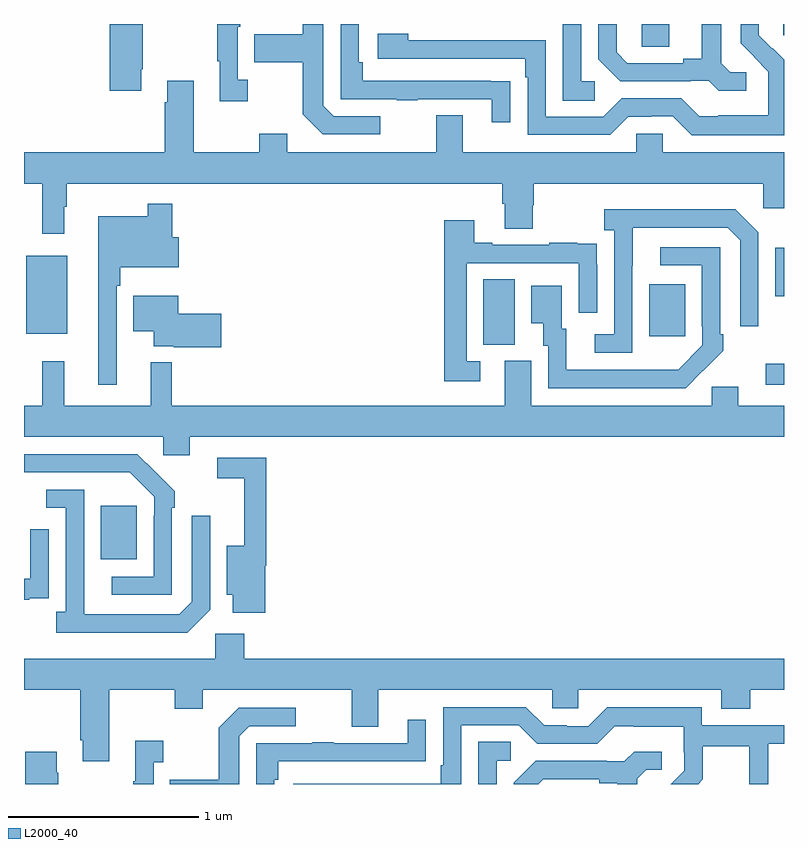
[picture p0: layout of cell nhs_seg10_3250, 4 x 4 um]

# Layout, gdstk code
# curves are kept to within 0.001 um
import gdstk
lib = gdstk.Library(unit=1e-6, precision=1e-09)
def R(c, l, rs):  # rectangles x0, y0, x1, y1
    for r in rs: c.add(gdstk.rectangle(r[:2], r[2:], *l))
def P(c, l, *ps):  # polygons
    for p in ps: c.add(gdstk.Polygon(p, *l))
L2000_40 = (2000, 40)

nhs_seg10_3250 = lib.new_cell('nhs_seg10_3250')
R(nhs_seg10_3250, L2000_40, [(287.405,1287.683,287.593,1287.964), (290.904,1288.602,291,1288.711), (289.418,1288.813,289.582,1289.156), (290.291,1288.857,290.479,1289.131), (287.012,1288.871,287.227,1289.281), (290.954,1289.066,291,1289.323), (290.25,1290.379,290.395,1290.5), (290.996,1290.441,291,1290.5)])
P(nhs_seg10_3250, L2000_40, [(290.8,1290.246),(290.718,1290.246),(290.671,1290.293),(290.671,1290.5),(290.567,1290.5),(290.567,1290.317),(290.471,1290.317),(290.471,1290.294),(290.176,1290.294),(290.119,1290.351),(290.119,1290.5),(290.022,1290.5),(290.022,1290.314),(290.138,1290.198),(290.51,1290.198),(290.51,1290.201),(290.604,1290.201),(290.656,1290.149),(290.8,1290.149)],
  [(287.617,1290.262),(287.625,1290.262),(287.625,1290.5),(287.45,1290.5),(287.45,1290.15),(287.617,1290.15)],
  [(288.874,1290.015),(288.63,1290.015),(288.576,1290.069),(288.576,1290.5),(288.468,1290.5),(288.468,1290.445),(288.211,1290.445),(288.211,1290.298),(288.468,1290.298),(288.468,1290.025),(288.573,1289.919),(288.874,1289.919)],
  [(290.005,1290.198),(289.932,1290.198),(289.932,1290.5),(289.836,1290.5),(289.836,1290.097),(290.005,1290.097)],
  [(289.559,1290.2),(289.457,1290.2),(289.457,1290.201),(288.782,1290.201),(288.782,1290.298),(288.762,1290.298),(288.762,1290.5),(288.666,1290.5),(288.666,1290.105),(288.961,1290.105),(288.961,1290.1),(289.073,1290.1),(289.073,1290.105),(289.463,1290.105),(289.463,1289.982),(289.559,1289.982)],
  [(288.178,1290.206),(288.126,1290.206),(288.126,1290.485),(288.139,1290.485),(288.139,1290.5),(288.018,1290.5),(288.018,1290.305),(288.029,1290.305),(288.029,1290.093),(288.178,1290.093)],
  [(291,1290.312),(290.94,1290.372),(290.937,1290.369),(290.867,1290.44),(290.867,1290.5),(290.772,1290.5),(290.772,1290.398),(290.918,1290.25),(290.918,1290.153),(290.916,1290.153),(290.916,1290.019),(290.653,1290.019),(290.653,1290.015),(290.553,1290.015),(290.46,1290.108),(290.145,1290.108),(290.049,1290.012),(289.746,1290.012),(289.746,1290.414),(289.022,1290.414),(289.022,1290.448),(288.861,1290.448),(288.861,1290.318),(289.637,1290.318),(289.637,1290.221),(289.65,1290.221),(289.65,1289.916),(290.085,1289.916),(290.181,1290.012),(290.3,1290.012),(290.3,1290.015),(290.415,1290.015),(290.515,1289.915),(291,1289.915)],
  [(287.212,1289.537),(287.224,1289.537),(287.224,1289.66),(289.517,1289.66),(289.517,1289.554),(289.529,1289.554),(289.529,1289.422),(289.677,1289.422),(289.677,1289.547),(289.682,1289.547),(289.682,1289.66),(290.892,1289.66),(290.892,1289.529),(291,1289.529),(291,1289.824),(290.361,1289.824),(290.361,1289.922),(290.223,1289.922),(290.223,1289.824),(289.309,1289.824),(289.309,1290.019),(289.169,1290.019),(289.169,1289.824),(288.385,1289.824),(288.385,1289.923),(288.238,1289.923),(288.238,1289.824),(287.893,1289.824),(287.893,1290.202),(287.753,1290.202),(287.753,1290.089),(287.741,1290.089),(287.741,1289.824),(287,1289.824),(287,1289.66),(287.095,1289.66),(287.095,1289.397),(287.212,1289.397)],
  [(287.487,1289.123),(287.507,1289.123),(287.507,1289.219),(287.815,1289.219),(287.815,1289.377),(287.78,1289.377),(287.78,1289.554),(287.652,1289.554),(287.652,1289.488),(287.39,1289.488),(287.39,1288.602),(287.487,1288.602)],
  [(290.202,1289.227),(290.203,1289.427),(290.703,1289.427),(290.769,1289.361),(290.769,1288.908),(290.865,1288.908),(290.865,1289.403),(290.744,1289.524),(290.055,1289.524),(290.055,1289.414),(290.106,1289.414),(290.106,1288.866),(290.004,1288.866),(290.004,1288.77),(290.202,1288.77)],
  [(289.402,1288.725),(289.329,1288.725),(289.329,1289.241),(289.92,1289.241),(289.92,1288.98),(290.016,1288.98),(290.016,1289.234),(290.015,1289.234),(290.015,1289.343),(289.913,1289.343),(289.913,1289.35),(289.765,1289.35),(289.765,1289.337),(289.465,1289.337),(289.465,1289.35),(289.369,1289.35),(289.369,1289.467),(289.213,1289.467),(289.213,1288.62),(289.402,1288.62)],
  [(290.573,1288.675),(290.574,1288.674),(290.679,1288.779),(290.679,1288.867),(290.664,1288.867),(290.664,1289.325),(290.349,1289.325),(290.349,1289.229),(290.568,1289.229),(290.568,1288.909),(290.571,1288.909),(290.571,1288.809),(290.443,1288.681),(289.855,1288.68),(289.855,1288.896),(289.831,1288.896),(289.831,1289.122),(289.67,1289.122),(289.67,1288.925),(289.733,1288.925),(289.733,1288.806),(289.758,1288.806),(289.758,1288.584),(290.482,1288.584)],
  [(288.037,1288.976),(287.812,1288.976),(287.812,1289.071),(287.576,1289.071),(287.576,1288.883),(287.684,1288.883),(287.684,1288.805),(287.788,1288.805),(287.788,1288.8),(288.037,1288.8)],
  [(287.095,1288.726),(287.095,1288.492),(287,1288.492),(287,1288.328),(287.733,1288.328),(287.733,1288.23),(287.872,1288.23),(287.872,1288.328),(291,1288.328),(291,1288.492),(290.758,1288.492),(290.758,1288.59),(290.619,1288.59),(290.619,1288.492),(289.669,1288.492),(289.669,1288.728),(289.529,1288.728),(289.529,1288.492),(287.778,1288.492),(287.778,1288.72),(287.666,1288.72),(287.666,1288.492),(287.213,1288.492),(287.213,1288.726)],
  [(287.778,1287.953),(287.793,1287.953),(287.793,1288.041),(287.596,1288.236),(287,1288.236),(287,1288.14),(287.557,1288.14),(287.685,1288.011),(287.685,1287.911),(287.682,1287.911),(287.682,1287.591),(287.463,1287.591),(287.463,1287.495),(287.778,1287.495)],
  [(288.269,1287.65),(288.275,1287.65),(288.275,1288.218),(288.018,1288.218),(288.018,1288.11),(288.158,1288.11),(288.158,1287.754),(288.068,1287.754),(288.068,1287.497),(288.098,1287.497),(288.098,1287.402),(288.269,1287.402)],
  [(287.979,1287.417),(287.979,1287.913),(287.883,1287.913),(287.883,1287.459),(287.817,1287.393),(287.316,1287.393),(287.316,1288.05),(287.118,1288.05),(287.118,1287.954),(287.22,1287.954),(287.22,1287.406),(287.169,1287.406),(287.169,1287.296),(287.858,1287.296)],
  [(287.027,1287.477),(287.129,1287.477),(287.129,1287.586),(287.13,1287.586),(287.13,1287.841),(287.034,1287.841),(287.034,1287.579),(287,1287.579),(287,1287.471),(287.027,1287.471)],
  [(287.449,1286.996),(287.794,1286.996),(287.794,1286.897),(287.941,1286.897),(287.941,1286.996),(288.725,1286.996),(288.725,1286.802),(288.865,1286.802),(288.865,1286.996),(289.779,1286.996),(289.779,1286.898),(289.917,1286.898),(289.917,1286.996),(290.669,1286.996),(290.669,1286.897),(290.822,1286.897),(290.822,1286.996),(291,1286.996),(291,1287.16),(288.158,1287.16),(288.158,1287.292),(288.006,1287.292),(288.006,1287.16),(287,1287.16),(287,1286.996),(287.297,1286.996),(287.297,1286.731),(287.309,1286.731),(287.309,1286.619),(287.449,1286.619)],
  [(289.302,1286.808),(289.605,1286.808),(289.701,1286.712),(290.016,1286.712),(290.109,1286.805),(290.209,1286.805),(290.209,1286.801),(290.472,1286.801),(290.472,1286.667),(290.474,1286.667),(290.474,1286.57),(290.404,1286.5),(290.548,1286.5),(290.573,1286.525),(290.573,1286.7),(290.818,1286.7),(290.818,1286.5),(290.916,1286.5),(290.916,1286.712),(291,1286.712),(291,1286.808),(290.568,1286.808),(290.568,1286.905),(290.071,1286.905),(289.971,1286.805),(289.856,1286.805),(289.856,1286.808),(289.737,1286.808),(289.641,1286.904),(289.206,1286.904),(289.206,1286.599),(289.193,1286.599),(289.193,1286.502),(288.417,1286.502),(288.417,1286.5),(289.302,1286.5)],
  [(288.132,1286.751),(288.186,1286.805),(288.43,1286.805),(288.43,1286.901),(288.129,1286.901),(288.024,1286.795),(288.024,1286.523),(287.767,1286.523),(287.767,1286.5),(288.132,1286.5)],
  [(288.318,1286.522),(288.338,1286.522),(288.338,1286.619),(289.013,1286.619),(289.013,1286.62),(289.115,1286.62),(289.115,1286.839),(289.019,1286.839),(289.019,1286.715),(288.629,1286.715),(288.629,1286.72),(288.517,1286.72),(288.517,1286.715),(288.222,1286.715),(288.222,1286.5),(288.318,1286.5)],
  [(287.682,1286.615),(287.734,1286.615),(287.734,1286.728),(287.585,1286.728),(287.585,1286.515),(287.574,1286.515),(287.574,1286.5),(287.682,1286.5)],
  [(289.488,1286.622),(289.561,1286.622),(289.561,1286.723),(289.392,1286.723),(289.392,1286.5),(289.488,1286.5)],
  [(287.181,1286.558),(287.173,1286.558),(287.173,1286.671),(287.006,1286.671),(287.006,1286.5),(287.181,1286.5)],
  [(289.732,1286.526),(290.027,1286.526),(290.027,1286.504),(290.123,1286.504),(290.123,1286.5),(290.227,1286.5),(290.227,1286.527),(290.274,1286.574),(290.356,1286.574),(290.356,1286.671),(290.212,1286.671),(290.16,1286.619),(290.066,1286.619),(290.066,1286.622),(289.694,1286.622),(289.578,1286.506),(289.578,1286.5),(289.706,1286.5)])

lib.write_gds('nhs_seg10_3250.gds')
